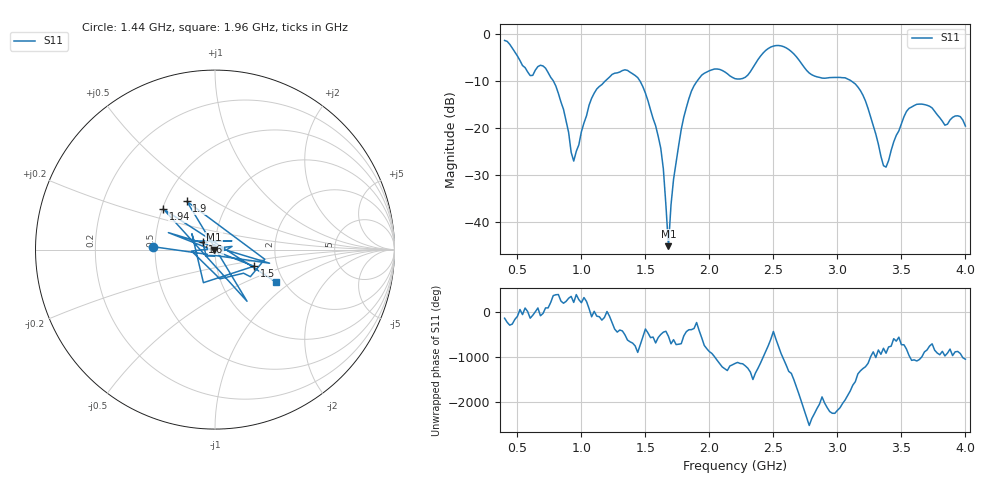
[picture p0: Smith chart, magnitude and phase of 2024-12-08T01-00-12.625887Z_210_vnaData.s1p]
!Created with skrf (http://scikit-rf.org).
# Hz S RI R 50.0
!freq ReS11 ImS11
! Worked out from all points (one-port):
!   181 points, 400 MHz to 4 GHz, reference 50 ohm
!   lowest |S11| = -45.2 dB at 1.68 GHz (marker M1), VSWR 1.01, Z = 49.5 + j0.0537 ohm
!   |S11| at or under -10 dB: 781.6 MHz to 1.185 GHz (403.5 MHz wide, 41 % of centre); 1.458 GHz to 1.904 GHz (445.6 MHz wide, 26.5 % of centre); 3.11 GHz to end of sweep
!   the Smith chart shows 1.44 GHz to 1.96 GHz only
!   S11 on the Smith chart (normalised r, x): 1.44 GHz: 0.49, +0.02; 1.5 GHz: 1.52, -0.30; 1.6 GHz: 0.87, +0.08; 1.9 GHz: 0.64, +0.38; 1.94 GHz: 0.51, +0.26; 1.96 GHz: 1.81, -0.77
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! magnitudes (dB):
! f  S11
! 400 MHz  -1.3
! 600 MHz  -8.8
! 720 MHz  -7.2
! 860 MHz  -16.0
! 940 MHz  -27.0
! 1.1 GHz  -12.6
! 1.3 GHz  -8.1
! 1.44 GHz  -9.2
! 1.5 GHz  -12.5
! 1.6 GHz  -21.8
! 1.64 GHz  -28.7
! 1.68 GHz  -45.2
! 1.72 GHz  -30.9
! 1.76 GHz  -23.7
! 1.82 GHz  -15.6
! 1.9 GHz  -10.1
! 1.94 GHz  -8.7
! 1.96 GHz  -8.3
! 2.2 GHz  -9.5
! 2.48 GHz  -2.7
! 2.66 GHz  -4.2
! 2.8 GHz  -8.6
! 3.1 GHz  -9.8
! 3.22 GHz  -14.3
! 3.38 GHz  -28.3
! 3.56 GHz  -15.8
! 3.7 GHz  -15.1
! 4 GHz  -19.6
